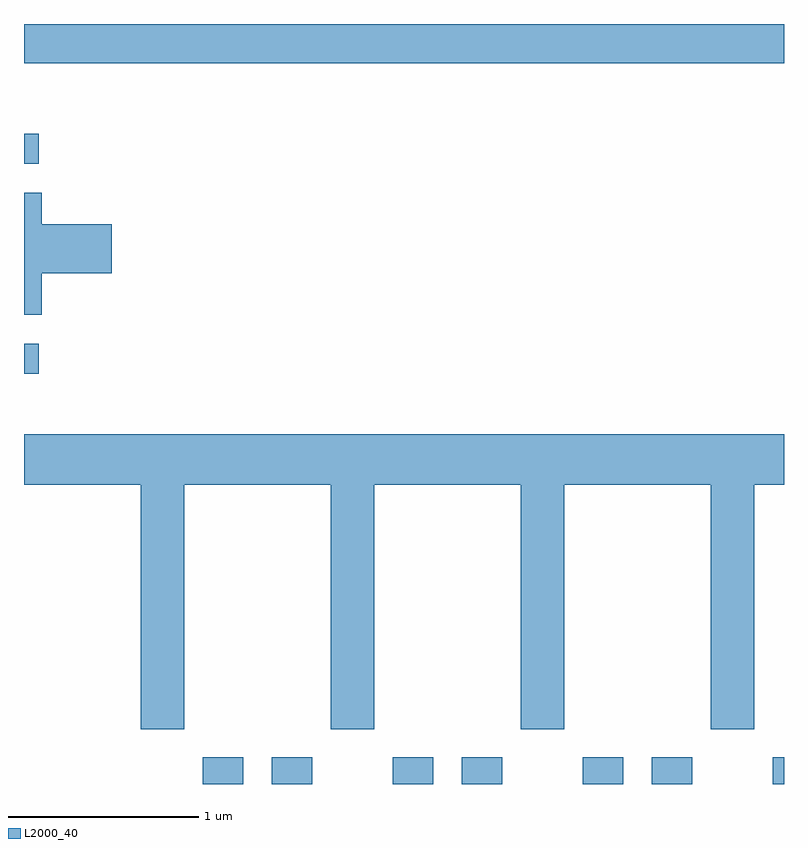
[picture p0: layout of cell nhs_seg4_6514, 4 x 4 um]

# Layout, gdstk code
import gdstk
lib = gdstk.Library(unit=1e-6, precision=1e-09)
def R(c, l, rs):  # rectangles x0, y0, x1, y1
    for r in rs: c.add(gdstk.rectangle(r[:2], r[2:], *l))
def P(c, l, *ps):  # polygons
    for p in ps: c.add(gdstk.Polygon(p, *l))
L2000_40 = (2000, 40)

nhs_seg4_6514 = lib.new_cell('nhs_seg4_6514')
R(nhs_seg4_6514, L2000_40, [(376.551,1361.982,376.764,1362.124), (376.916,1361.982,377.129,1362.124), (377.551,1361.982,377.764,1362.124), (377.916,1361.982,378.129,1362.124), (378.551,1361.982,378.764,1362.124), (378.916,1361.982,379.129,1362.124), (379.551,1361.982,379.611,1362.124), (375.611,1364.141,375.688,1364.299), (375.611,1365.246,375.688,1365.404), (375.611,1365.776,379.611,1365.982)])
P(nhs_seg4_6514, L2000_40, [(375.704,1364.671),(376.074,1364.671),(376.074,1364.929),(375.704,1364.929),(375.704,1365.094),(375.611,1365.094),(375.611,1364.451),(375.704,1364.451)],
  [(376.454,1363.556),(377.226,1363.556),(377.226,1362.271),(377.454,1362.271),(377.454,1363.556),(378.226,1363.556),(378.226,1362.271),(378.454,1362.271),(378.454,1363.556),(379.226,1363.556),(379.226,1362.271),(379.454,1362.271),(379.454,1363.556),(379.611,1363.556),(379.611,1363.824),(375.611,1363.824),(375.611,1363.556),(376.226,1363.556),(376.226,1362.271),(376.454,1362.271)])

lib.write_gds('nhs_seg4_6514.gds')
